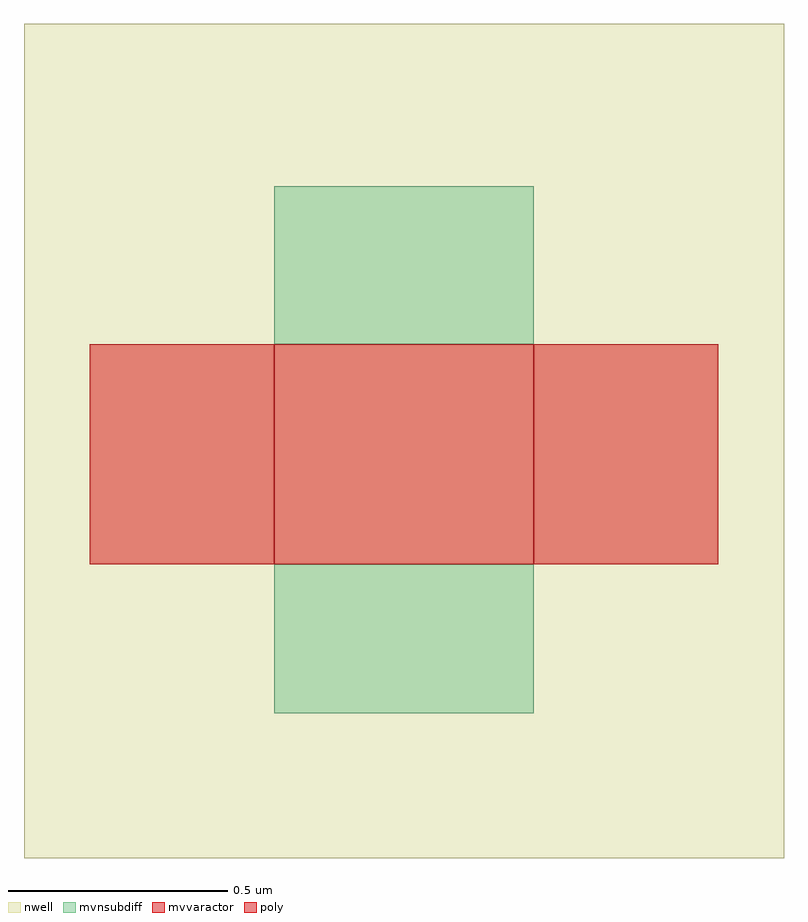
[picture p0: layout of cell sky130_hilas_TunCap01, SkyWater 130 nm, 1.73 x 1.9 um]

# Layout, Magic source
magic
tech sky130A
<< nwell >>
rect 0 0 173 190
<< mvvaractor >>
rect 57 67 116 117
<< mvnsubdiff >>
rect 57 117 116 153
rect 57 33 116 67
<< poly >>
rect 15 67 57 117
rect 116 67 158 117
<< properties >>
string LEFsite unithd
string LEFclass CORE
string LEFsymmetry X Y R90
<< end >>
